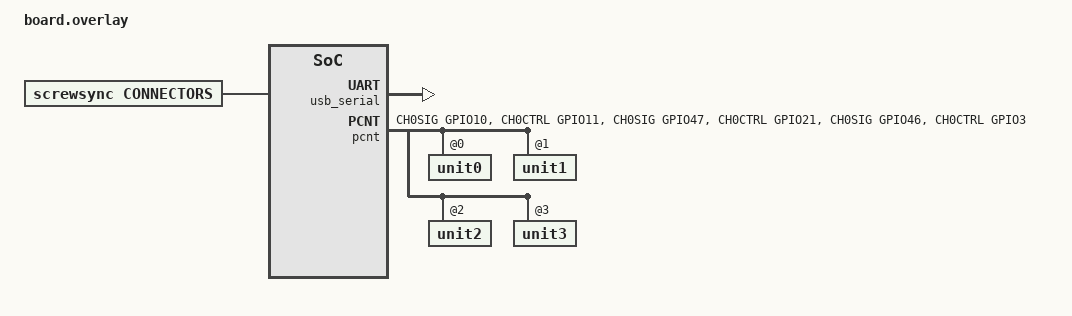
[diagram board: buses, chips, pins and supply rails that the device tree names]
#include <zephyr/dt-bindings/gpio/gpio.h>
#include <zephyr/dt-bindings/pinctrl/esp32s3-pinctrl.h>
#include <dt-bindings/screwsync/pins.h>

&psram0 {
	status = "okay";
	size = <DT_SIZE_M(8)>;
};

&flash0 {
	partitions {
		/* Saved G-code programs (LittleFS). */
		gcode_partition: partition@700000 {
			compatible = "zephyr,mapped-partition";
			label = "gcode";
			reg = <0x700000 DT_SIZE_M(1)>;
		};
	};
};

&usb_serial {
	status = "okay";
};

/ {
	chosen {
		zephyr,console = &usb_serial;
		zephyr,shell-uart = &usb_serial;
	};

	/* Laid out like the connectors on the back of the case. */
	connectors {
		compatible = "screwsync,connectors";
		board-name = "nanoels H5";
		strapping-gpios = <0 3 45 46>;
		reserved-gpios = <35 36 37>;
		reserved-notes = "octal PSRAM data line inside the chip package. Driving it corrupts the PSRAM and breaks Wi-Fi",
				 "octal PSRAM data line inside the chip package. Driving it corrupts the PSRAM and breaks Wi-Fi",
				 "octal PSRAM data line inside the chip package. Driving it corrupts the PSRAM and breaks Wi-Fi";

		z-motor = <16 15 7>;
		x-motor = <1 2 17>;
		spindle = <10 11>;
		z-handwheel = <21 47>;
		x-handwheel = <3 46>;
		probe = <8>;

		r1c1 { title = "Spare 1"; row = <1>; col = <1>; pins = <PIN_5V 41 42 35>; };
		r1c2 { title = "Z motor"; row = <1>; col = <2>; pins = <PIN_5V 16 15 7>; };
		r1c3 { title = "X motor"; row = <1>; col = <3>; pins = <PIN_5V 1 2 17>; };
		r1c4 { title = "Spare 2"; row = <1>; col = <4>; pins = <38 6 5 4>; };
		r1c5 { title = "Spare 3"; row = <1>; col = <5>; pins = <PIN_5V PIN_GND 36 37>; };
		r2c1 { title = "PROBE"; row = <2>; col = <1>; pins = <PIN_5V PIN_GND 8 18>; };
		r2c2 { title = "Z handwheel"; row = <2>; col = <2>; pins = <PIN_5V PIN_GND 21 47>; };
		r2c3 { title = "X handwheel"; row = <2>; col = <3>; pins = <PIN_5V PIN_GND 3 46>; };
		r2c4 { title = "POWER"; row = <2>; col = <4>; pins = <PIN_5V PIN_5V PIN_GND PIN_GND>; };
		r2c5 { title = "Spare 4"; row = <2>; col = <5>; pins = <PIN_5V PIN_GND 14 13>; };
		r3c1 { title = "Spare 5"; row = <3>; col = <1>; pins = <PIN_5V PIN_GND 12 9>; };
		r3c2 { title = "Spare 6"; row = <3>; col = <2>; pins = <PIN_5V PIN_GND 39 40>; };
		r3c3 { title = "Spare 7"; row = <3>; col = <3>; pins = <PIN_5V PIN_GND 48 45>; };
		r3c4 { title = "POWER"; row = <3>; col = <4>; pins = <PIN_5V PIN_5V PIN_GND PIN_GND>; };
		r3c5 { title = "ENCODER"; row = <3>; col = <5>; pins = <PIN_5V PIN_GND 10 11>; };
	};
};

/* PCNT units for hardware quadrature decoding. Unit 0 is the spindle
 * (read via the driver's interrupt, main/lib/Encoder); the others are
 * handwheels (polled, main/lib/Handwheel), which count the edges of both
 * A and B to cancel contact bounce. The pins below are only the
 * boot routing: main/lib/Pins routes the units and sets their glitch
 * filters from the pin map. */
&pinctrl {
	pcnt_default: pcnt_default {
		group1 {
			pinmux = <PCNT0_CH0SIG_GPIO10>,
				 <PCNT0_CH0CTRL_GPIO11>,
				 <PCNT1_CH0SIG_GPIO47>,
				 <PCNT1_CH0CTRL_GPIO21>,
				 <PCNT2_CH0SIG_GPIO46>,
				 <PCNT2_CH0CTRL_GPIO3>;
			bias-pull-up;
		};
	};
};

&pcnt {
	pinctrl-0 = <&pcnt_default>;
	pinctrl-names = "default";
	status = "okay";
	#address-cells = <1>;
	#size-cells = <0>;

	unit0@0 {
		reg = <0>;
		#address-cells = <1>;
		#size-cells = <0>;

		channelA@0 {
			reg = <0>;
			sig-pos-mode = <1>; /* increase on rising edge */
			sig-neg-mode = <2>; /* decrease on falling edge */
			ctrl-h-mode = <1>;  /* invert direction when control is high */
			ctrl-l-mode = <0>;
		};
	};

	unit1@1 {
		reg = <1>;
		#address-cells = <1>;
		#size-cells = <0>;

		channelA@0 {
			reg = <0>;
			sig-pos-mode = <1>;
			sig-neg-mode = <2>;
			ctrl-h-mode = <1>;
			ctrl-l-mode = <0>;
		};

		channelB@1 {
			reg = <1>;
			sig-pos-mode = <1>;
			sig-neg-mode = <2>;
			ctrl-h-mode = <0>;
			ctrl-l-mode = <1>;
		};
	};

	unit2@2 {
		reg = <2>;
		#address-cells = <1>;
		#size-cells = <0>;

		channelA@0 {
			reg = <0>;
			sig-pos-mode = <1>;
			sig-neg-mode = <2>;
			ctrl-h-mode = <1>;
			ctrl-l-mode = <0>;
		};

		channelB@1 {
			reg = <1>;
			sig-pos-mode = <1>;
			sig-neg-mode = <2>;
			ctrl-h-mode = <0>;
			ctrl-l-mode = <1>;
		};
	};

	unit3@3 {
		reg = <3>;
		#address-cells = <1>;
		#size-cells = <0>;

		channelA@0 {
			reg = <0>;
			sig-pos-mode = <1>;
			sig-neg-mode = <2>;
			ctrl-h-mode = <1>;
			ctrl-l-mode = <0>;
		};

		channelB@1 {
			reg = <1>;
			sig-pos-mode = <1>;
			sig-neg-mode = <2>;
			ctrl-h-mode = <0>;
			ctrl-l-mode = <1>;
		};
	};
};
